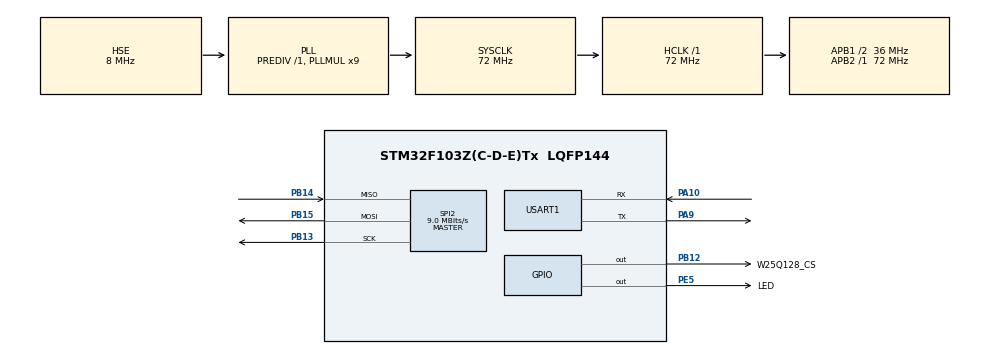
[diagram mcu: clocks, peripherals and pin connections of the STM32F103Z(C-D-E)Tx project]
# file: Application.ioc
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Dma.Request0=USART1_RX
Dma.USART1_RX.0.Direction=DMA_PERIPH_TO_MEMORY
Dma.USART1_RX.0.Instance=DMA1_Channel5
Dma.USART1_RX.0.MemDataAlignment=DMA_MDATAALIGN_BYTE
Dma.USART1_RX.0.MemInc=DMA_MINC_ENABLE
Dma.USART1_RX.0.Mode=DMA_CIRCULAR
Dma.USART1_RX.0.PeriphDataAlignment=DMA_PDATAALIGN_BYTE
Dma.USART1_RX.0.PeriphInc=DMA_PINC_DISABLE
Dma.USART1_RX.0.Priority=DMA_PRIORITY_LOW
Mcu.Family=STM32F1
Mcu.Name=STM32F103Z(C-D-E)Tx
Mcu.Package=LQFP144
NVIC.DMA1_Channel5_IRQn=true\:0\:0\:false\:false\:true\:false\:true\:true
NVIC.PriorityGroup=NVIC_PRIORITYGROUP_4
NVIC.USART1_IRQn=true\:0\:0\:false\:false\:true\:true\:true\:true
OSC_IN.Mode=HSE-External-Oscillator
OSC_IN.Signal=RCC_OSC_IN
OSC_OUT.Mode=HSE-External-Oscillator
OSC_OUT.Signal=RCC_OSC_OUT
PA10.GPIO_PuPd=GPIO_PULLUP
PA10.Mode=Asynchronous
PA10.Signal=USART1_RX
PA13.Mode=Serial_Wire
PA13.Signal=SYS_JTMS-SWDIO
PA14.Mode=Serial_Wire
PA14.Signal=SYS_JTCK-SWCLK
PA9.Mode=Asynchronous
PA9.Signal=USART1_TX
PB12.GPIO_Label=W25Q128_CS
PB12.GPIO_PuPd=GPIO_PULLUP
PB12.GPIO_Speed=GPIO_SPEED_FREQ_HIGH
PB12.PinState=GPIO_PIN_SET
PB12.Signal=GPIO_Output
PB13.Mode=Full_Duplex_Master
PB13.Signal=SPI2_SCK
PB14.Mode=Full_Duplex_Master
PB14.Signal=SPI2_MISO
PB15.Mode=Full_Duplex_Master
PB15.Signal=SPI2_MOSI
PC14-OSC32_IN.Mode=LSE-External-Oscillator
PC14-OSC32_IN.Signal=RCC_OSC32_IN
PC15-OSC32_OUT.Mode=LSE-External-Oscillator
PC15-OSC32_OUT.Signal=RCC_OSC32_OUT
PE5.GPIO_Label=LED
PE5.GPIO_ModeDefaultOutputPP=GPIO_MODE_OUTPUT_PP
PE5.GPIO_PuPd=GPIO_PULLUP
PE5.GPIO_Speed=GPIO_SPEED_FREQ_LOW
PE5.PinState=GPIO_PIN_SET
PE5.Signal=GPIO_Output
ProjectManager.HeapSize=0x200
ProjectManager.StackSize=0x400
ProjectManager.TargetToolchain=CMake
RCC.AHBFreq_Value=72000000
RCC.APB1CLKDivider=RCC_HCLK_DIV2
RCC.APB1Freq_Value=36000000
RCC.APB1TimFreq_Value=72000000
RCC.APB2Freq_Value=72000000
RCC.APB2TimFreq_Value=72000000
RCC.HCLKFreq_Value=72000000
RCC.PLLMUL=RCC_PLL_MUL9
RCC.PLLSourceVirtual=RCC_PLLSOURCE_HSE
RCC.SYSCLKFreq_VALUE=72000000
RCC.SYSCLKSource=RCC_SYSCLKSOURCE_PLLCLK
RCC.USBFreq_Value=72000000
SPI2.BaudRatePrescaler=SPI_BAUDRATEPRESCALER_4
SPI2.CalculateBaudRate=9.0 MBits/s
SPI2.Direction=SPI_DIRECTION_2LINES
SPI2.Mode=SPI_MODE_MASTER
SPI2.VirtualType=VM_MASTER
USART1.VirtualMode=VM_ASYNC
board=custom

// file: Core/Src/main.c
/* USER CODE BEGIN Header */
/**
  ******************************************************************************
  * @file           : main.c
  * @brief          : Main program body
  ******************************************************************************
  * @attention
  *
  * Copyright (c) 2026 STMicroelectronics.
  * All rights reserved.
  *
  * This software is licensed under terms that can be found in the LICENSE file
  * in the root directory of this software component.
  * If no LICENSE file comes with this software, it is provided AS-IS.
  *
  ******************************************************************************
  */
/* USER CODE END Header */
#include "main.h"
#include "dma.h"
#include "spi.h"
#include "usart.h"
#include "gpio.h"

/* USER CODE BEGIN Includes */
#include "board.h"
#include "uart_app.h"
#include "w25q.h"
#include "crc32.h"			/* 算固件 CRC，写头部之前必须先把数据算实 */
#include "ota_slot.h"		/* 双槽布局：App 负责往槽里写，Boot 负责读出来搬运 */
#include "app_ota.h"		/* 一直监听的固件接收状态机 */
#include "wdg.h"			/* 独立看门狗：死循环 → 自动复位 → Boot 才能回滚 */
/* USER CODE END Includes */

/* USER CODE BEGIN PD */

/* App 镜像在 Flash 里的起始地址，必须和 STM32F103XX_FLASH.ld 的 FLASH ORIGIN
   一字不差。BootLoader 跳过来时也是往这个地址取初始 SP 和复位向量。
   BootLoader 占 32KB，所以 App 从 0x08008000 开始。
   F103xE 页大小 2KB，所以这个值必须 2KB 对齐（0x08008000 = 第 16 页）。 */
#define APP_ADDR    0x08008000U

/* 试用期确认门限：稳定运行这么久且期间一直在喂狗，才向 Boot 承认"这版能用"。
 *
 * 为什么不能像以前那样在初始化末尾立即确认：
 *   「初始化全过」不等于「固件能用」。一个初始化写对了、主循环里死循环的固件，
 *   在旧写法下第一秒就自己签了字，试用期形同虚设，回滚永远不会发生。
 *   现在要求"进主循环后连续跑满 5 秒"，死的固件根本走不到这一行。
 *
 * 为什么是 5 秒而不是 30 秒：
 *   5 秒足够暴露绝大多数启动后立即崩的问题（空指针、时钟没配好、外设死等），
 *   又短到用户感觉不到"升级完还要等一会儿"。
 *   真需要长周期的健康检查（比如等第一帧传感器数据）应该单独写业务判据，
 *   而不是靠把这个延时调得很长 —— 那只会让人以为升级卡住了。 */
#define APP_CONFIRM_DELAY_MS    5000U

/* 确认失败（W25Q 写不进）时的重试：每 1 秒一次，最多 5 次。
 * 不无限重试是因为失败原因基本是硬件性的，多试几次能救回来的话头几次就够了；
 * 而如果一直失败，继续每秒写一次 W25Q 只是白白消耗擦写寿命。 */
#define APP_CONFIRM_RETRY_MS    1000U
#define APP_CONFIRM_RETRY_MAX   5U

/* 和 BootLoader 约定的暗号，两边必须一字不差（Boot 侧见
   Boot_Loader/Core/Src/main.c 的 BKP_JUMP_MAGIC）。
   存在 RTC 后备寄存器 BKP_DR1 里，不占 RAM/Flash，复位不掉、断电才丢。
   注意必须是 16 位：F1 的 BKP_DRx 只有低 16 位有效，写 32 位会被截断，
   比较就永远不相等（Boot 那边踩过一次，整条握手静默失效）。 */
#define BKP_JUMP_MAGIC   0xA55AU

/* USER CODE END PD */

void SystemClock_Config(void);

/* USER CODE BEGIN 0 */

/**
  * 函    数：Bkp_ClearJumpMark
  * 功    能：擦掉 Boot 留下的"我跳过来了"暗号，等于报到："main 已经跑起来了"
  * 说    明：为什么要有这个标记 —— Boot 只能把控制权交出去，交完之后
  *           它什么也看不见。固件如果死在时钟配置里、或者 HardFault 卡在
  *           默认处理函数里，看门狗都还没开，板子就那么挂着，Boot 下次
  *           上电只看到"复位键"，以为是用户手按的，于是永远不回滚。
  *           有了这个标记：Boot 写一笔 → App 一进 main 就擦掉 → 下次上电
  *           这笔还在，就说明上次跳过去根本没活过来，这才能计一次试用失败。
  *
  * 为什么放在 main 最前面：越早越准。放在 Uart_Init 之后的话，
  * 串口初始化死等的固件就会漏判 —— 而那正是最需要认出来的情况之一。
  *
  * 为什么直接写寄存器：工程 Drivers 是裁剪过的，没有 HAL 的 PWR/BKP 驱动，
  * 为一个位补一堆 HAL 代码不划算（和 WDG 那边同样的取舍）。 */
static void Bkp_ClearJumpMark(void)
{
	RCC->APB1ENR |= RCC_APB1ENR_PWREN | RCC_APB1ENR_BKPEN;
	(void)RCC->APB1ENR;			/* 读回一次，确认时钟真的开了再动 BKP */
	PWR->CR      |= PWR_CR_DBP;	/* 解除后备区写保护 */

	if((BKP->DR1 & 0xFFFFU) == BKP_JUMP_MAGIC)
	{
		BKP->DR1 = 0U;			/* 报到完毕，把暗号擦掉 */
	}
}

/* W25Q128 自检：读 ID → 擦一个扇区 → 写 16 字节 → 读回打印。
 *
 * 擦的是 OTA_SCRATCH_BASE（W25Q 最后一个扇区 0x00FFF000），不是地址 0。
 *
 * 这个改动是必须的：地址 0 现在是「槽 A 的头部扇区」，而 Boot 靠这个头
 * 判断"有没有待装固件"。如果 App 每次上电都把它擦掉，就等于每次开机
 * 都悄悄取消了刚下载好的升级 —— 而且下一个字节写进去还会让头部变成 BAD。
 * 症状会是"下载完一复位就不升了"，极难联想到是自检代码干的。
 *
 * 验通之后把 USER CODE BEGIN 2 里那行调用删掉即可。 */
static void W25q_SelfTest(void)
{
	static uint8_t wbuf[16];
	static uint8_t rbuf[16];
	uint32_t id;
	uint8_t  i;

	/* 片选 PB12。SPI2 本身（Mode 0 / 8bit / 9MHz）已在 MX_SPI2_Init() 里配好。
	   用 CubeMX 生成的宏而不是写死 GPIOB/PIN_12，换脚时这里自动跟随 */
	W25q_Init(&hspi2, W25Q128_CS_GPIO_Port, W25Q128_CS_Pin);

	id = W25q_ReadId();
	Uart_Printf(UART_LOG, "[w25q] 芯片ID=0x%06lX %s\r\n", (unsigned long)id,
				(id == W25Q_JEDEC_ID) ? "正常" : "异常，应为 0xEF4018");

	if(id != W25Q_JEDEC_ID)
	{
		/* 读不到 ID 说明片选或接线有问题，后面擦写必然失败，不浪费时间 */
		return;
	}

	for(i = 0U; i < 16U; i++)
	{
		wbuf[i] = (uint8_t)(0xA0U + i);
	}

	Uart_Printf(UART_LOG, "[w25q] 擦临时扇区 ... %s\r\n",
				(W25q_EraseSector(OTA_SCRATCH_BASE) == W25Q_OK) ? "成功" : "失败");

	Uart_Printf(UART_LOG, "[w25q] 写 16 字节 ... %s\r\n",
				(W25q_Write(OTA_SCRATCH_BASE, wbuf, 16U) == W25Q_OK) ? "成功" : "失败");

	(void)W25q_Read(OTA_SCRATCH_BASE, rbuf, 16U);
	Uart_Printf(UART_LOG, "[w25q] 读回：");
	for(i = 0U; i < 16U; i++)
	{
		Uart_Printf(UART_LOG, "%02X ", rbuf[i]);
	}
	Uart_Printf(UART_LOG, "\r\n");
}

/* 阶段 1 自检：往槽 A 写一份「假固件」（16 字节数据 + 头），再读回来校验。
 *
 * 验的是跨工程一致性 —— App 用 ota_slot.c 写、Boot 用另一份副本读。
 * 两份文件只要有一处布局、字节序或 CRC 约定不一致，Boot 就会打印 bad。
 * 这正是"两份副本必须同步"这条约定的自动化检查。
 *
 * 顺序固定为「先写数据、最后写头」：
 * 头部存在就等于数据已经在那儿且校验过，Boot 不需要再猜。
 *
 * flags 打 OTA_SLOT_FLAG_SELFTEST：这不是真固件，Boot 阶段 3 的搬运逻辑
 * 必须跳过带这个标志的槽，否则会把这份假数据搬进内部 Flash 当固件跑。 */
/* 阶段 1 已验证通过，调用点已注释掉。加 unused 属性是为了保留这段自测代码
   又不触发 -Wunused-function：下次改 ota_slot 布局时把它放开跑一遍，
   是成本最低的一致性回归测试 */
static void __attribute__((unused)) OtaSlot_SelfTest(void)
{
	static uint8_t buf[16];
	OtaSlotHeader_t hdr;
	OtaSlotHeader_t back;
	uint32_t crc;
	uint32_t data_addr = OtaSlot_DataAddr(OTA_SLOT_A);
	uint8_t  i;
	int8_t   st;

	for(i = 0U; i < 16U; i++)
	{
		buf[i] = (uint8_t)(0xB0U + i);
	}

	/* CRC 必须算在真正要写进去的那串字节上，不能用长度代替 */
	crc = Crc32_Buf(buf, 16U);

	if(W25q_EraseSector(data_addr) != W25Q_OK)
	{
		Uart_Printf(UART_LOG, "[slot] 擦 A 数据区 ... 失败\r\n");
		return;
	}

	if(W25q_Write(data_addr, buf, 16U) != W25Q_OK)
	{
		Uart_Printf(UART_LOG, "[slot] 写 A 数据区 ... 失败\r\n");
		return;
	}

	OtaSlot_BuildHeader(&hdr, 3U, 16U, crc, 0U, OTA_SLOT_FLAG_SELFTEST);

	st = OtaSlot_WriteHeader(OTA_SLOT_A, &hdr);
	if(st != OTA_SLOT_OK)
	{
		Uart_Printf(UART_LOG, "[slot] 写 A 头部 ... 失败(%d)\r\n", (int)st);
		return;
	}

	st = OtaSlot_ReadHeader(OTA_SLOT_A, &back);
	if(st != OTA_SLOT_OK)
	{
		/* 写完立刻读不回来，说明头部扇区擦/写有问题，或者两份代码布局不一致 */
		Uart_Printf(UART_LOG, "[slot] 读 A 头部 ... 失败(%d)\r\n", (int)st);
		return;
	}

	Uart_Printf(UART_LOG, "[slot] A 头部正常 版本=%u 长度=%lu CRC=0x%08lX\r\n",
				(unsigned)back.fw_ver,
				(unsigned long)back.fw_len,
				(unsigned long)back.fw_crc);

	/* 读回来重算数据 CRC —— 只有这一步能证明"落盘的就是收到的" */
	st = OtaSlot_VerifyData(OTA_SLOT_A, &back);
	Uart_Printf(UART_LOG, "[slot] A 数据 CRC ... %s\r\n",
				(st == 1) ? "一致" : ((st == 0) ? "不一致" : "读失败"));
}
/* USER CODE END 0 */

int main(void)
{

  /* USER CODE BEGIN 1 */

  /* 报到：告诉 BootLoader"这次真的进 main 了"。
     必须是 main 的第一条语句 —— 这条路过不去，说明固件连入口都没跑起来，
     Boot 下次上电就该把它算成一次试用失败。 */
  Bkp_ClearJumpMark();

  /* 中断向量表重定位，必须放在 HAL_Init() 之前。
     HAL_Init() 里会打开 SysTick，而 SysTick_Handler 的入口是从 VTOR
     指向的那张表里取的：VTOR 还指着 0x08000000 时，SysTick 会跑到
     BootLoader 的向量表里去 —— 能跑，但跑的是别人的中断。
     后面开 USART1 / DMA 中断同理。 */
  SCB->VTOR = APP_ADDR;

  /* USER CODE END 1 */

  /* MCU Configuration--------------------------------------------------------*/

  /* Reset of all peripherals, Initializes the Flash interface and the Systick. */
  HAL_Init();

  /* Configure the system clock */
  SystemClock_Config();

  /* Initialize all configured peripherals */
  MX_GPIO_Init();
  MX_DMA_Init();
  MX_USART1_UART_Init();
  MX_SPI2_Init();
  /* USER CODE BEGIN 2 */
  Uart_Init();
  Uart_Printf(UART_LOG, "[app] 上电启动\r\n");

  /* 构建戳：OTA 系统里"现在跑的到底是哪一版"必须有一行能直接看出来。
     用 __DATE__/__TIME__ 而不是手写版本号，是因为手写的那个十有八九会
     忘记改 —— 一旦忘了，日志里新旧固件长得一模一样，
     排查"到底刷进去没有"就变成了猜。 */
  Uart_Printf(UART_LOG, "[app] 编译时间 " __DATE__ " " __TIME__ "\r\n");

  W25q_SelfTest();			/* W25Q128 通不通，看这一行打印 */

  /* 阶段 1 的自测已通过（Boot 能读出 App 写的头），现在关掉：
     它每次上电都会往槽 A 写一份 SELFTEST 假头、并擦两个扇区，
     留着只会制造无用擦写、还会把真实升级的现场搅乱。函数保留备用。 */
  /* OtaSlot_SelfTest(); */

  /* 启动"一直监听"的固件接收状态机。
     注意它不占串口独占权：只从 Uart 的 DMA 环形缓冲里取数据，
     有业务数据时照样能被业务代码读走（顺序取决于谁先调 Uart_Read） */
  AppOta_Init();

  /* 开狗。位置在所有初始化之后 —— 狗一开就开始倒计时，
     从这里到进主循环之间不允许再有任何超过 2 秒的操作。
     W25q_SelfTest 之所以留在前面，就是因为它的扇区擦除最长 45ms，
     放前面不受狗约束，放后面反而要额外算余量。
     超时和参数含义见 wdg.h 顶部说明。 */
  Wdg_Init();

  /* 把两个时间常量打出来。升级出问题时第一个要看的就是这两行：
     "狗到底开没开、开到多少秒"决定了卡死后板子会不会自己活过来，
     而"确认门限"决定了它到底算不算通过了试用期。 */
  Uart_Printf(UART_LOG, "[app] 看门狗 %ums，确认门限 %ums\r\n",
              (unsigned)WDG_TIMEOUT_MS, (unsigned)APP_CONFIRM_DELAY_MS);

  /* 试用确认挪进了主循环（见下面的 while(1)）。
     原来在这里直接调 AppOta_Confirm() 属于"乐观确认"：
     只要初始化跑完就签字，主循环里死了也不回滚。
     现在必须"稳定跑满 APP_CONFIRM_DELAY_MS 且一直在喂狗"才认。 */
  Uart_Printf(UART_LOG, "[app-ota] 监听中，槽 A 位于 0x%08lX\r\n",
              (unsigned long)OtaSlot_DataAddr(OTA_SLOT_A));
  /* USER CODE END 2 */

  /* Infinite loop */
  while (1)
  {

    /* USER CODE BEGIN 3 */
    /* 主循环必须非阻塞：以前这里用 HAL_Delay(500) 闪灯，整个 500ms 里
       程序什么都不看，串口收到的字节全堆在 DMA 缓冲里，超过 200 字节的
       缓冲深度就会丢包。现在改成"到点才翻转"的写法，轮询间隔是微秒级。
       顺带一提，非阻塞也正好是看门狗能工作的前提：HAL_Delay 那种写法下
       一轮 500ms，狗虽然不会被误触发，但主循环卡住时也分辨不出来。 */
    static uint32_t t_led = 0U;
    static uint8_t  led_on = 0U;
    static uint32_t t_next_confirm = APP_CONFIRM_DELAY_MS;	/* 下次尝试确认的绝对时刻 */
    static uint8_t  confirmed = 0U;		/* 0=未确认 1=已确认 2=放弃 */
    static uint8_t  retry = 0U;
    uint32_t now;

    /* 喂狗放在循环体第一行：它必须在"任何可能阻塞的操作之前"执行，
       这样上一轮里最长的那次阻塞（OTA 接收时 45ms 的扇区擦除）才被
       完整地算进下一轮的 2 秒预算里。 */
    Wdg_Feed();

    now = Board_Millis();

    AppOta_Poll();			/* 只在有数据时才干活，没数据立刻返回 */

    /* 试用确认（实证版）：跑满 APP_CONFIRM_DELAY_MS 且期间一直喂狗，才签字。
       用"绝对时刻 + 有符号差值"比较而不是 Timer_Timeout，是为了让重试
       可以不重置计时器 —— 差值法在 32 位回绕（49.7 天）时依然正确。 */
    if(confirmed == 0U)
    {
      if((int32_t)(now - t_next_confirm) >= 0)
      {
        if(AppOta_Confirm() != 0U)
        {
          confirmed = 1U;			/* 内部已打印 self-confirm，这里不重复 */
        }
        else if(retry < APP_CONFIRM_RETRY_MAX)
        {
          retry++;
          t_next_confirm = now + APP_CONFIRM_RETRY_MS;
        }
        else
        {
          /* 走到这里说明确认标记一次都没写成功。固件本身是好的（狗还在被喂），
             所以不自杀、也不放弃运行，只是把状态留在 TRIAL ——
             下次上电 Boot 会多算一次试用失败，三次之后退回旧版。
             这比"一直在这里死循环等 W25Q 恢复"要安全。 */
          confirmed = 2U;
          Uart_Printf(UART_LOG, "[app] 确认放弃（重试 %u 次），保持试用态\r\n",
                      (unsigned)retry);
        }
      }
    }

    if((now - t_led) >= 500U)
    {
      t_led  = now;
      led_on = (uint8_t)((led_on != 0U) ? 0U : 1U);
      Led_Fan(led_on);
    }
  }
  /* USER CODE END 3 */
}

void SystemClock_Config(void)
{
  RCC_OscInitTypeDef RCC_OscInitStruct = {0};
  RCC_ClkInitTypeDef RCC_ClkInitStruct = {0};

  /** Initializes the RCC Oscillators according to the specified parameters
  * in the RCC_OscInitTypeDef structure.
  */
  RCC_OscInitStruct.OscillatorType = RCC_OSCILLATORTYPE_HSE;
  RCC_OscInitStruct.HSEState = RCC_HSE_ON;
  RCC_OscInitStruct.HSEPredivValue = RCC_HSE_PREDIV_DIV1;
  RCC_OscInitStruct.HSIState = RCC_HSI_ON;
  RCC_OscInitStruct.PLL.PLLState = RCC_PLL_ON;
  RCC_OscInitStruct.PLL.PLLSource = RCC_PLLSOURCE_HSE;
  RCC_OscInitStruct.PLL.PLLMUL = RCC_PLL_MUL9;
  if (HAL_RCC_OscConfig(&RCC_OscInitStruct) != HAL_OK)
  {
    Error_Handler();
  }

  /** Initializes the CPU, AHB and APB buses clocks
  */
  RCC_ClkInitStruct.ClockType = RCC_CLOCKTYPE_HCLK|RCC_CLOCKTYPE_SYSCLK
                              |RCC_CLOCKTYPE_PCLK1|RCC_CLOCKTYPE_PCLK2;
  RCC_ClkInitStruct.SYSCLKSource = RCC_SYSCLKSOURCE_PLLCLK;
  RCC_ClkInitStruct.AHBCLKDivider = RCC_SYSCLK_DIV1;
  RCC_ClkInitStruct.APB1CLKDivider = RCC_HCLK_DIV2;
  RCC_ClkInitStruct.APB2CLKDivider = RCC_HCLK_DIV1;

  if (HAL_RCC_ClockConfig(&RCC_ClkInitStruct, FLASH_LATENCY_2) != HAL_OK)
  {
    Error_Handler();
  }
}

void Error_Handler(void)
{
  __disable_irq();
  while (1)
  {
  }
}
